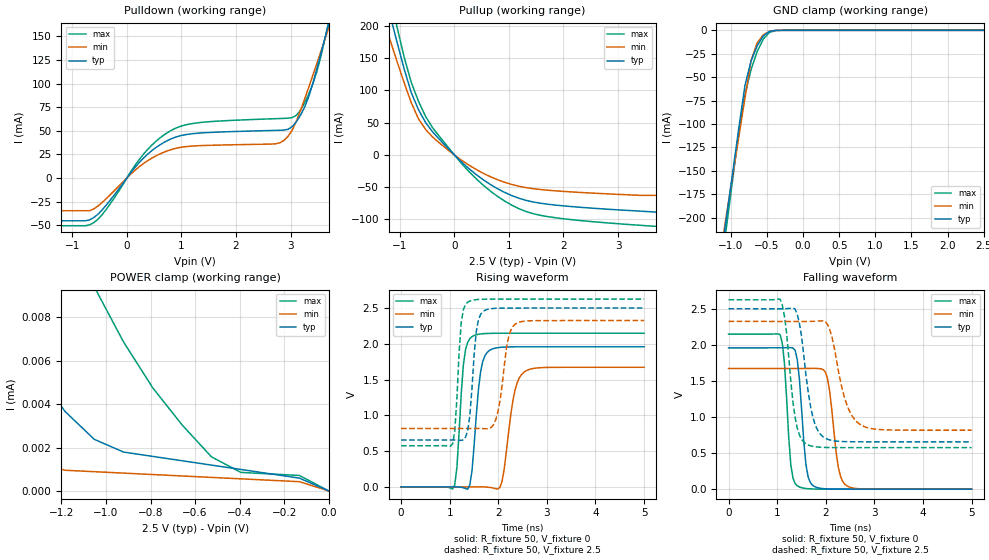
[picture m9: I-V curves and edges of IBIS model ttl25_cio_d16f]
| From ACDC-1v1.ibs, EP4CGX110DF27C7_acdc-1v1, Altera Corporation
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[Model]   ttl25_cio_d16f
Model_type  I/O
Polarity   Non-Inverting
Enable Active-Low
Vinl   = 0.7
Vinh   = 1.7
Vmeas  = 1.1625
Rref   = 10M
Cref   = 0pF
Vref   = 0
| C_comp values for normal column I/O
C_comp 4.7pF   4.7pF   4.7pF
[Temperature Range] 25   85   0
[Voltage Range]  2.5   2.325   2.625
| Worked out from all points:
|   slope of the pulldown table from 0 to 0.375 V, typ, clamps not added: 15.1 ohm
|   slope of the pullup table from 0 to 0.375 V, typ, clamps not added: 13.1 ohm
|   GND clamp passes 1 mA (typ) near -0.45 V on its own axis
|   rising waveform, R_fixture 50, V_fixture 0: 20-80 % time 149ps typ, 203ps min, 121ps max; typ from 0 V to 1.96 V
|   falling waveform, R_fixture 50, V_fixture 0: 20-80 % time 134ps typ, 167ps min, 118ps max; typ from 1.96 V to 0 V
|   rising waveform, R_fixture 50, V_fixture 2.5: 20-80 % time 124ps typ, 180ps min, 105ps max; typ from 0.656 V to 2.5 V
|   falling waveform, R_fixture 50, V_fixture 2.5: 20-80 % time 228ps typ, 310ps min, 187ps max; typ from 2.5 V to 0.656 V
[GND Clamp]
| voltage   I (typ)   I (min)   I (max)
-2.5V     -1.003A    -896.6mA   -1.061A
-1.144V   -246.2mA   -237.3mA   -259.1mA
-1.059V   -198.9mA   -196.1mA   -209mA
-974.6mV  -151.6mA   -154.9mA   -158.9mA
-889.8mV  -104.3mA   -113.6mA   -108.8mA
-805.1mV  -58.87mA   -72.41mA   -68.82mA
-720.3mV  -32.71mA   -32.28mA   -41.9mA
-635.6mV  -16.39mA   -13.32mA   -22.54mA
-550.8mV  -6.002mA   -4.742mA   -9.332mA
-466.1mV  -1.154mA   -978.7uA   -2.246mA
-296.6mV  -4.684uA   -8.884uA   -9.494uA
2.5V      0A         0A         0A
[Pulldown]
| voltage   I (typ)   I (min)   I (max)
-2.5V     -45.38mA   -34.69mA   -50.57mA
-681.8mV  -44.33mA   -34.69mA   -49.66mA
-378.8mV  -28.75mA   -21.94mA   -33.32mA
303mV     20.98mA    15.26mA    25.15mA
833.3mV   42.02mA    30.44mA    51.06mA
2.803V    50.59mA    37.25mA    63.02mA
3.03V     54.49mA    50.76mA    63.96mA
3.258V    75.02mA    83.6mA     79.47mA
3.485V    116.3mA    121.8mA    113.1mA
3.636V    149.6mA    148mA      149.2mA
3.712V    166.4mA    161.2mA    169.1mA
5V        442mA      388.4mA    489.9mA
[POWER Clamp]
| voltage   I (typ)   I (min)   I (max)
-2.5V     124.1uA    71.36uA    181.7uA
-1.842V   22.85uA    9.498uA    53.98uA
-1.579V   12.21uA    4.121uA    28.45uA
-1.447V   8.385uA    2.418uA    21.97uA
-1.316V   5.568uA    1.354uA    16.64uA
-1.184V   3.666uA    951.8nA    12.52uA
-1.053V   2.377uA    886nA      9.404uA
-789.5mV  1.589uA    754.4nA    4.74uA
-526.3mV  1.189uA    622.9nA    1.568uA
-394.7mV  989.5nA    557.1nA    853.5nA
-131.6mV  589.5nA    425.3nA    711.3nA
0V        0A         0A         0A
[Pullup]
| voltage   I (typ)   I (min)   I (max)
-2.5V     648.5mA    531.4mA    735.3mA
-1.316V   261.3mA    214.5mA    296.2mA
-1.184V   218.3mA    179.5mA    247.5mA
-1.053V   175.3mA    145.2mA    198.8mA
-789.5mV  96.36mA    80.82mA    112.3mA
-657.9mV  70.17mA    55.96mA    83.08mA
-394.7mV  35.31mA    27.46mA    41.62mA
394.7mV   -30.06mA   -22.3mA    -36.52mA
1.184V    -67.13mA   -48.52mA   -83.3mA
1.71V     -76.31mA   -54.63mA   -95.54mA
2.627V    -83.05mA   -59.54mA   -104.1mA
5V        -89mA      -62.6mA    -111mA
[Ramp]
dV/dt_r   1.175e+000/1.491e-010  1.003e+000/2.028e-010  1.289e+000/1.214e-010
dV/dt_f   1.107e+000/2.277e-010  9.048e-001/3.098e-010  1.230e+000/1.874e-010
R_load = 50ohms
[Rising Waveform]
R_fixture   = 50
V_fixture   = 0
V_fixture_min = 0
V_fixture_max = 0
| time   V (typ)   V (min)   V (max)
0s        0V         0V         0V
1.104ns   899uV      -108.4uV   27.89mV
1.282ns   -11.13mV   -124.2uV   1.702V
1.459ns   222.2mV    -159.7uV   2.099V
1.636ns   1.608V     803.8uV    2.138V
1.813ns   1.905V     -5.777mV   2.145V
2.079ns   1.953V     80.09mV    2.148V
2.301ns   1.957V     1.205V     2.148V
2.522ns   1.958V     1.6V       2.148V
5ns       1.958V     1.672V     2.148V
[Falling Waveform]
R_fixture   = 50
V_fixture   = 0
V_fixture_min = 0
V_fixture_max = 0
| time   V (typ)   V (min)   V (max)
0s        1.958V     1.672V     2.148V
1.06ns    1.959V     1.672V     2.142V
1.282ns   1.961V     1.672V     331mV
1.415ns   1.79V      1.672V     46.69mV
1.592ns   341.9mV    1.673V     9.348mV
1.725ns   56.06mV    1.674V     3.163mV
2.035ns   3.713mV    1.536V     270uV
2.256ns   632.9uV    308.3mV    45.5uV
2.433ns   152.6uV    46.55mV    12.25uV
5ns       995.7nV    0V         1.14uV
[Rising Waveform]
R_fixture   = 50
V_fixture   = 2.5
V_fixture_min = 2.325
V_fixture_max = 2.625
| time   V (typ)   V (min)   V (max)
0s        655.6mV    817mV      575.5mV
1.06ns    656mV      816.7mV    601.9mV
1.237ns   651.3mV    816.8mV    2.294V
1.37ns    783.2mV    816.8mV    2.581V
1.548ns   2.171V     817.3mV    2.617V
1.68ns    2.447V     814.8mV    2.622V
1.946ns   2.496V     938.1mV    2.624V
2.212ns   2.499V     2.094V     2.624V
2.345ns   2.499V     2.272V     2.625V
5ns       2.5V       2.325V     2.625V
[Falling Waveform]
R_fixture   = 50
V_fixture   = 2.5
V_fixture_min = 2.325
V_fixture_max = 2.625
| time   V (typ)   V (min)   V (max)
0s        2.5V       2.325V     2.625V
1.06ns    2.499V     2.324V     2.632V
1.149ns   2.5V       2.324V     2.402V
1.415ns   2.422V     2.324V     843.9mV
1.592ns   1.586V     2.324V     628.8mV
1.902ns   750.6mV    2.332V     580.6mV
2.079ns   682.6mV    2.216V     576.9mV
2.433ns   658.2mV    1.171V     575.6mV
2.699ns   656.1mV    899.9mV    575.5mV
5ns       655.6mV    817mV      575.5mV
